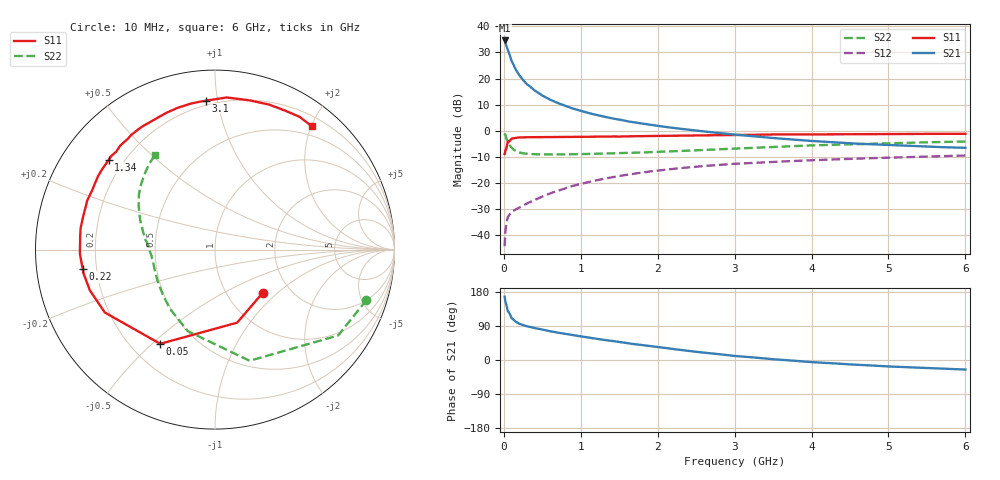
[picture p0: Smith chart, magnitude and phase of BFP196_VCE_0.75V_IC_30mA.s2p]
! Infineon Technologies  Discrete & RF Semiconductors
! BFP196
! VCE = 0.75V,  IC =  30mA
! Common Emitter S-Parameters:  Jan 2016
# GHz  S  MA  R  50
!  f  S11  S21  S12  S22
! GHz  MAG  ANG  MAG  ANG  MAG  ANG  MAG  ANG
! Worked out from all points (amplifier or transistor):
!   210 points, 10 MHz to 6 GHz, reference 50 ohm
!   highest |S21| = 34.6 dB at 10 MHz (marker M1)
!   |S21| within 3 dB of that: start of sweep to 44.05 MHz
!   unconditionally stable (mu >= 1): 491.2 MHz to end of sweep
!   at 185 MHz: K = 0.62, MSG = 25.8 dB, |S12| = -29.6 dB
!   at 1.52 GHz: K = 1.12, MAG = 8.6 dB, |S12| = -17.2 dB
!   at 6 GHz: K = 1.03, MAG = 0.4 dB, |S12| = -9.5 dB
!   S11 on the Smith chart (normalised r, x): 10 MHz: 1.46, -0.81; 50 MHz: 0.32, -0.53; 220 MHz: 0.15, -0.07; 1.34 GHz: 0.14, +0.36; 3.1 GHz: 0.17, +0.93; 6 GHz: 0.35, +2.00
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0.01  0.3586 -42.3  53.46 167.2  0.0062 77.5  0.8895 -18.4
0.02  0.4254 -73.1  49.11 154.4  0.0121 66.2  0.8365 -34.9
0.05  0.6073 -120.2  35.89 129.6  0.0221 49.6  0.6487 -72.7
0.1  0.7068 -150.3  21.79 110.4  0.028 39.6  0.479 -108.4
0.15  0.7332 -161.9  15.2 101.4  0.0312 38.8  0.4152 -127.0
0.2  0.7444 -169.7  11.62 95.7  0.0338 41.7  0.3853 -138.5
0.22  0.7451 -171.7  10.69 94.3  0.0351 42.7  0.3786 -141.7
0.24  0.7467 -173.8  9.758 92.7  0.0364 43.6  0.3731 -145.1
0.26  0.7487 -175.5  8.997 91.3  0.0378 44.6  0.3692 -147.8
0.3  0.7531 -178.3  7.8 88.9  0.0406 47.0  0.3635 -151.9
0.4  0.7545 175.2  5.897 84.2  0.0473 50.7  0.3559 -159.5
0.5  0.7583 170.9  4.726 80.1  0.055 53.4  0.3528 -164.3
0.6  0.7578 166.4  3.944 76.0  0.0633 54.8  0.3519 -167.7
0.7  0.7579 162.2  3.396 72.1  0.071 55.4  0.3528 -170.4
0.9  0.7595 155.1  2.652 65.7  0.0884 55.6  0.3552 -174.6
1.02  0.7647 150.6  2.356 61.8  0.0978 55.3  0.3584 -176.5
1.34  0.7747 139.9  1.812 52.1  0.1239 52.4  0.3679 179.0
2.02  0.7965 120.2  1.228 33.7  0.1746 43.7  0.3962 170.3
3.1  0.8313 93.4  0.821 9.2  0.2374 28.1  0.4622 155.4
4.1  0.8541 75.4  0.626 -6.7  0.2766 15.4  0.5304 142.5
5.1  0.8685 62.1  0.526 -17.8  0.3093 4.3  0.5803 131.8
6  0.8734 52.0  0.472 -25.2  0.3366 -5.6  0.6238 122.5
